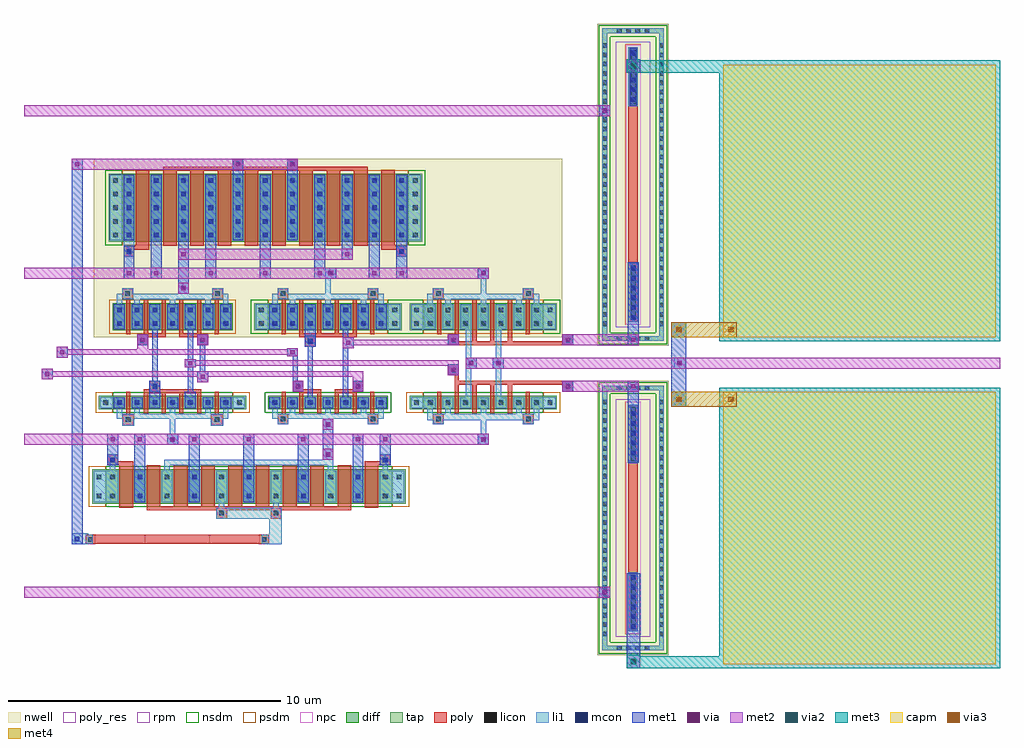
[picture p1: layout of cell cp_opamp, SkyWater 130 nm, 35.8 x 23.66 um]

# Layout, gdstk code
import gdstk
lib = gdstk.Library(unit=1e-6, precision=1e-09)
def R(c, l, rs):  # rectangles x0, y0, x1, y1
    for r in rs: c.add(gdstk.rectangle(r[:2], r[2:], *l))
def A(c, l, x, y, w, h, nx, ny, dx, dy):  # array of equal rectangles
    R(c, l, [(x+i*dx, y+j*dy, x+i*dx+w, y+j*dy+h) for i in range(nx) for j in range(ny)])
nwell = (64, 20)
diff = (65, 20)
tap = (65, 44)
poly_res = (66, 13)
poly = (66, 20)
licon = (66, 44)
li1 = (67, 20)
mcon = (67, 44)
met1 = (68, 20)
via = (68, 44)
met2 = (69, 20)
via2 = (69, 44)
met3 = (70, 20)
via3 = (70, 44)
met4 = (71, 20)
rpm = (86, 20)
capm = (89, 44)
nsdm = (93, 44)
psdm = (94, 20)
npc = (95, 20)

cp_opamp = lib.new_cell('cp_opamp')
R(cp_opamp, nwell, [(264.985,45.785,267.605,55.855), (264.985,57.135,267.605,68.955), (246.5,57.45,263.7,64)])
A(cp_opamp, diff, 247.2, 54.8, 4.4, 0.5, 3, 1, 5.7, 0)
A(cp_opamp, diff, 247.2, 57.7, 4.4, 1, 3, 1, 5.7, 0)
R(cp_opamp, diff, [(246.95,51.35,257.45,52.6), (247.55,60.95,258.05,63.45)])
R(cp_opamp, tap, [(265.165,45.965,267.425,46.135), (265.165,46.135,265.335,55.505), (267.255,46.135,267.425,55.505), (246.45,51.35,246.95,52.6), (257.45,51.35,257.95,52.6), (246.7,54.8,247.2,55.3), (251.6,54.8,252.1,55.3), (258.1,54.8,258.6,55.3), (263,54.8,263.5,55.3), (265.165,55.505,267.425,55.675), (265.165,57.315,267.425,57.485), (265.165,57.485,265.335,68.605), (267.255,57.485,267.425,68.605), (252.4,57.7,252.9,58.7), (257.3,57.7,257.8,58.7), (258.1,57.7,258.6,58.7), (263,57.7,263.5,58.7), (247.05,60.95,247.55,63.45), (258.05,60.95,258.55,63.45), (265.165,68.605,267.425,68.775)])
R(cp_opamp, poly_res, [(266.12,48.74,266.47,52.9), (248.37,49.87,250.77,50.2), (266.12,60.09,266.47,66)])
A(cp_opamp, poly, 248.45, 51.25, 0.5, 1.5, 8, 1, 1, 0)
A(cp_opamp, poly, 248.35, 54.65, 0.15, 0.75, 4, 1, 0.65, 0)
A(cp_opamp, poly, 254.05, 54.65, 0.15, 0.75, 4, 1, 0.65, 0)
A(cp_opamp, poly, 259.75, 54.65, 0.15, 1.05, 4, 1, 0.65, 0)
A(cp_opamp, poly, 260.4, 57.3, 0.15, 1.55, 3, 1, 0.65, 0)
A(cp_opamp, poly, 248.35, 57.6, 0.15, 1.25, 4, 1, 0.65, 0)
A(cp_opamp, poly, 254.05, 57.6, 0.15, 1.25, 4, 1, 0.65, 0)
A(cp_opamp, poly, 249.05, 60.8, 0.5, 2.75, 8, 1, 1, 0)
R(cp_opamp, poly, [(266.12,46.66,266.47,54.98), (246.22,49.87,252.92,50.2), (251,50.8,251.4,51.1), (253,50.8,253.4,51.1), (248.45,51.1,255.95,51.25), (247.45,51.2,247.95,52.75), (256.45,51.2,256.95,52.75), (247,52.75,247.95,52.9), (256.45,52.75,257.4,52.9), (247,52.9,247.4,53.15), (257,52.9,257.4,53.15), (247.55,54.2,248,54.65), (250.8,54.2,251.25,54.65), (253.25,54.25,253.65,54.65), (256.55,54.25,256.95,54.65), (258.95,54.25,259.35,54.65), (262.25,54.25,262.65,54.65), (247.7,54.65,247.85,55.45), (250.95,54.65,251.1,55.45), (253.4,54.65,253.55,55.45), (256.65,54.65,256.8,55.45), (259.1,54.65,259.25,55.45), (262.35,54.65,262.5,55.45), (248.35,55.4,250.45,55.55), (254.05,55.4,254.85,55.45), (255.35,55.4,256.15,55.45), (253.8,55.45,254.85,55.55), (255.35,55.45,256.4,55.55), (263.7,55.45,264.1,55.7), (248.55,55.55,248.95,55.85), (253.8,55.55,254.2,55.85), (256,55.55,256.4,55.85), (259.75,55.7,264.1,55.85), (259.75,55.85,259.9,56.05), (259.5,56.05,259.9,56.45), (254.25,57.1,254.65,57.45), (248.1,57.15,248.5,57.45), (250.3,57.15,250.7,57.45), (259.5,57.15,264.1,57.3), (259.5,57.3,259.9,57.55), (263.7,57.3,264.1,57.55), (248.1,57.45,249.15,57.55), (249.65,57.45,250.7,57.55), (254.05,57.45,256.15,57.6), (247.7,57.55,247.85,58.85), (248.35,57.55,249.15,57.6), (249.65,57.55,250.45,57.6), (250.95,57.55,251.1,58.85), (253.4,57.55,253.55,58.85), (256.65,57.55,256.8,58.85), (259.1,57.55,259.25,58.85), (259.75,57.55,259.9,58.85), (262.35,57.55,262.5,58.85), (266.12,58.01,266.47,68.08), (247.55,58.85,247.95,59.25), (250.85,58.85,251.25,59.25), (253.25,58.85,253.65,59.25), (256.55,58.85,256.95,59.25), (258.95,58.85,259.35,59.25), (262.25,58.85,262.65,59.25), (247.6,60.4,248,60.65), (257.6,60.4,258,60.65), (247.6,60.65,248.55,60.8), (257.05,60.65,258,60.8), (248.05,60.8,248.55,63.6), (257.05,60.8,257.55,63.6), (249.05,63.55,256.55,63.7), (251.6,63.7,252,64), (253.6,63.7,254,64)])
A(cp_opamp, licon, 265.7, 45.965, 0.17, 0.17, 4, 2, 0.34, 9.54)
A(cp_opamp, licon, 265.165, 46.485, 0.17, 0.17, 1, 26, 0, 0.34)
A(cp_opamp, licon, 267.255, 46.485, 0.17, 0.17, 1, 26, 0, 0.34)
A(cp_opamp, licon, 247.115, 51.54, 0.17, 0.17, 11, 2, 1, 0.7)
A(cp_opamp, licon, 247.365, 54.965, 0.17, 0.17, 7, 2, 0.65, 2.9)
A(cp_opamp, licon, 253.065, 54.965, 0.17, 0.17, 7, 2, 0.65, 2.9)
A(cp_opamp, licon, 258.765, 54.965, 0.17, 0.17, 7, 2, 0.65, 2.9)
A(cp_opamp, licon, 265.7, 57.315, 0.17, 0.17, 4, 2, 0.34, 11.29)
A(cp_opamp, licon, 265.165, 57.86, 0.17, 0.17, 1, 31, 0, 0.34)
A(cp_opamp, licon, 267.255, 57.86, 0.17, 0.17, 1, 31, 0, 0.34)
A(cp_opamp, licon, 247.365, 58.365, 0.17, 0.17, 7, 1, 0.65, 0)
A(cp_opamp, licon, 253.065, 58.365, 0.17, 0.17, 7, 1, 0.65, 0)
A(cp_opamp, licon, 258.765, 58.365, 0.17, 0.17, 7, 1, 0.65, 0)
A(cp_opamp, licon, 247.215, 61.115, 0.17, 0.17, 1, 5, 0, 0.5)
A(cp_opamp, licon, 247.715, 61.115, 0.17, 0.17, 11, 5, 1, 0.5)
A(cp_opamp, licon, 258.215, 61.115, 0.17, 0.17, 1, 5, 0, 0.5)
R(cp_opamp, licon, [(266.2,46.74,266.39,48.74), (246.3,49.95,246.47,50.12), (252.67,49.95,252.84,50.12), (251.115,50.915,251.285,51.085), (253.115,50.915,253.285,51.085), (246.615,51.54,246.785,51.71), (257.615,51.54,257.785,51.71), (246.615,52.24,246.785,52.41), (257.615,52.24,257.785,52.41), (247.115,52.865,247.285,53.035), (257.115,52.865,257.285,53.035), (266.2,52.9,266.39,54.9), (247.69,54.34,247.86,54.51), (250.94,54.34,251.11,54.51), (253.365,54.365,253.535,54.535), (256.665,54.365,256.835,54.535), (259.065,54.365,259.235,54.535), (262.365,54.365,262.535,54.535), (246.865,54.965,247.035,55.135), (251.765,54.965,251.935,55.135), (258.265,54.965,258.435,55.135), (263.165,54.965,263.335,55.135), (248.665,55.565,248.835,55.735), (253.915,55.565,254.085,55.735), (256.115,55.565,256.285,55.735), (263.815,55.565,263.985,55.735), (259.615,56.165,259.785,56.335), (254.365,57.215,254.535,57.385), (248.215,57.265,248.385,57.435), (250.415,57.265,250.585,57.435), (259.615,57.265,259.785,57.435), (263.815,57.265,263.985,57.435), (252.565,57.865,252.735,58.035), (257.465,57.865,257.635,58.035), (258.265,57.865,258.435,58.035), (263.165,57.865,263.335,58.035), (266.2,58.09,266.39,60.09), (252.565,58.365,252.735,58.535), (257.465,58.365,257.635,58.535), (258.265,58.365,258.435,58.535), (263.165,58.365,263.335,58.535), (247.665,58.965,247.835,59.135), (250.965,58.965,251.135,59.135), (253.365,58.965,253.535,59.135), (256.665,58.965,256.835,59.135), (259.065,58.965,259.235,59.135), (262.365,58.965,262.535,59.135), (247.715,60.515,247.885,60.685), (257.715,60.515,257.885,60.685), (251.715,63.715,251.885,63.885), (253.715,63.715,253.885,63.885), (266.2,66,266.39,68)])
A(cp_opamp, li1, 248, 51.4, 0.4, 1.15, 9, 1, 1, 0)
A(cp_opamp, li1, 248, 54.65, 0.2, 0.2, 3, 2, 1.3, 4)
A(cp_opamp, li1, 253.7, 54.65, 0.2, 0.2, 3, 2, 1.3, 4)
A(cp_opamp, li1, 259.4, 54.65, 0.2, 0.2, 3, 2, 1.3, 4)
A(cp_opamp, li1, 247.9, 54.85, 0.4, 0.4, 5, 1, 0.65, 0)
A(cp_opamp, li1, 252.95, 54.85, 0.4, 0.4, 7, 1, 0.65, 0)
A(cp_opamp, li1, 259.3, 54.85, 0.4, 0.4, 5, 1, 0.65, 0)
A(cp_opamp, li1, 247.25, 57.75, 0.4, 0.9, 5, 1, 0.65, 0)
A(cp_opamp, li1, 253.6, 57.75, 0.4, 0.9, 5, 1, 0.65, 0)
A(cp_opamp, li1, 259.3, 57.75, 0.4, 0.9, 5, 1, 0.65, 0)
A(cp_opamp, li1, 247.35, 58.85, 4.1, 0.2, 3, 1, 5.7, 0)
A(cp_opamp, li1, 248.6, 61, 0.4, 2.4, 9, 1, 1, 0)
R(cp_opamp, li1, [(265.165,45.965,267.425,46.135), (265.165,46.135,265.335,47.9), (267.255,46.135,267.425,55.505), (266.12,46.66,266.47,48.82), (265.05,47.9,265.45,48.3), (265.165,48.3,265.335,55.505), (245.7,49.85,246.3,49.87), (252.8,49.85,253.4,49.87), (245.7,49.87,246.47,50.2), (252.67,49.87,253.4,50.2), (245.7,50.2,246.3,50.25), (252.95,50.2,253.4,50.8), (251,50.8,253.4,51.2), (251.1,51.2,251.3,51.4), (253.1,51.2,253.3,51.4), (246.5,51.4,247.4,52.55), (257,51.4,257.9,52.55), (247.1,52.55,247.3,52.75), (249.1,52.55,249.3,52.75), (255.1,52.55,255.3,52.75), (257.1,52.55,257.3,52.75), (247,52.75,247.4,53.15), (249.1,52.75,255.3,52.95), (257,52.75,257.4,53.15), (266.12,52.82,266.47,54.98), (254.9,52.95,255.3,53.35), (249.2,53.5,249.6,53.9), (260.6,53.5,261,53.9), (249.3,53.9,249.5,54.45), (260.7,53.9,260.9,54.4), (254.9,54.05,255.3,54.45), (247.55,54.2,248,54.45), (250.8,54.2,251.25,54.45), (253.25,54.25,253.65,54.45), (256.55,54.25,256.95,54.45), (258.95,54.25,259.35,54.4), (262.25,54.25,262.65,54.4), (258.75,54.4,262.85,54.65), (247.35,54.45,251.45,54.65), (253.05,54.45,257.15,54.65), (247.35,54.65,247.55,54.85), (251.25,54.65,251.45,54.85), (253.05,54.65,253.25,54.85), (256.95,54.65,257.15,54.85), (258.75,54.65,258.95,54.85), (262.65,54.65,262.85,54.85), (246.75,54.85,247.65,55.25), (251.15,54.85,252.05,55.25), (258.15,54.85,259.05,55.25), (262.55,54.85,263.45,55.25), (260.15,55.25,260.35,56.3), (261.25,55.25,261.45,56.3), (248.55,55.45,248.95,55.85), (253.8,55.45,254.2,55.85), (256,55.45,256.4,55.85), (263.7,55.45,264.1,55.85), (265.165,55.505,267.425,55.675), (259.5,56.05,259.9,56.45), (260.15,56.3,260.55,56.7), (261.15,56.3,261.55,56.7), (267.8,56.3,268.2,56.7), (260.15,56.7,260.35,57.75), (261.25,56.7,261.45,57.75), (254.25,57.1,254.65,57.5), (248.1,57.15,248.5,57.55), (250.3,57.15,250.7,57.55), (259.5,57.15,259.9,57.55), (263.7,57.15,264.1,57.55), (265.165,57.315,267.425,57.485), (265.165,57.485,265.335,65.55), (267.255,57.485,267.425,68.605), (250.5,57.75,250.95,58.65), (251.15,57.75,251.55,58.65), (252.45,57.75,253.35,58.65), (256.85,57.75,257.75,58.65), (258.15,57.75,259.05,58.65), (262.55,57.75,263.45,58.65), (266.12,58.01,266.47,60.17), (247.35,58.65,247.55,58.85), (251.25,58.65,251.45,58.85), (253.05,58.65,253.25,58.85), (256.95,58.65,257.15,58.85), (258.75,58.65,258.95,58.85), (262.65,58.65,262.85,58.85), (247.55,59.05,247.95,59.25), (249.6,59.05,250,59.45), (250.85,59.05,251.25,59.25), (253.25,59.05,253.65,59.25), (255,59.05,255.2,59.6), (256.55,59.05,256.95,59.25), (258.95,59.05,259.35,59.25), (260.7,59.05,260.9,59.6), (262.25,59.05,262.65,59.25), (255,59.6,255.4,60), (260.6,59.6,261,60), (247.6,60.4,248,61), (257.6,60.4,258,60.8), (247.1,61,248,63.4), (257.6,61,258.5,63.4), (251.6,63.6,252,64), (253.6,63.6,254,64), (265.05,65.55,265.45,65.95), (266.12,65.92,266.47,68.08), (265.165,65.95,265.335,68.605), (265.165,68.605,267.425,68.775)])
A(cp_opamp, mcon, 266.21, 46.755, 0.17, 0.17, 1, 6, 0, 0.36)
A(cp_opamp, mcon, 248.115, 51.54, 0.17, 0.17, 5, 2, 2, 0.7)
A(cp_opamp, mcon, 266.215, 53.12, 0.17, 0.17, 1, 5, 0, 0.36)
A(cp_opamp, mcon, 247.365, 54.965, 0.17, 0.17, 7, 2, 0.65, 2.9)
A(cp_opamp, mcon, 253.065, 54.965, 0.17, 0.17, 7, 2, 0.65, 2.9)
A(cp_opamp, mcon, 266.215, 58.09, 0.17, 0.17, 1, 6, 0, 0.36)
A(cp_opamp, mcon, 247.365, 58.365, 0.17, 0.17, 7, 1, 0.65, 0)
A(cp_opamp, mcon, 253.065, 58.365, 0.17, 0.17, 7, 1, 0.65, 0)
A(cp_opamp, mcon, 247.715, 61.115, 0.17, 0.17, 11, 5, 1, 0.5)
A(cp_opamp, mcon, 266.21, 66.085, 0.17, 0.17, 1, 3, 0, 0.36)
R(cp_opamp, mcon, [(265.165,48.015,265.335,48.185), (245.815,49.965,245.985,50.135), (247.115,52.865,247.285,53.035), (257.115,52.865,257.285,53.035), (255.015,53.065,255.185,53.235), (249.315,53.615,249.485,53.785), (260.715,53.615,260.885,53.785), (255.015,54.165,255.185,54.335), (248.665,55.565,248.835,55.735), (253.915,55.565,254.085,55.735), (256.115,55.565,256.285,55.735), (263.815,55.565,263.985,55.735), (259.615,56.165,259.785,56.335), (260.265,56.415,260.435,56.585), (261.265,56.415,261.435,56.585), (267.915,56.415,268.085,56.585), (254.365,57.215,254.535,57.385), (248.215,57.265,248.385,57.435), (250.415,57.265,250.585,57.435), (259.615,57.265,259.785,57.435), (263.815,57.265,263.985,57.435), (249.715,59.165,249.885,59.335), (255.115,59.715,255.285,59.885), (260.715,59.715,260.885,59.885), (247.715,60.515,247.885,60.685), (257.715,60.515,257.885,60.685), (251.715,63.715,251.885,63.885), (253.715,63.715,253.885,63.885), (265.165,65.665,265.335,65.835), (266.21,67.315,266.38,67.485), (266.21,67.78,266.38,67.95)])
A(cp_opamp, met1, 248, 51.4, 0.4, 2.5, 5, 1, 2, 0)
A(cp_opamp, met1, 247.9, 54.85, 0.4, 0.4, 3, 1, 1.3, 0)
A(cp_opamp, met1, 252.95, 54.85, 0.4, 0.4, 7, 1, 0.65, 0)
A(cp_opamp, met1, 247.25, 57.75, 0.4, 0.9, 7, 1, 0.65, 0)
A(cp_opamp, met1, 254.9, 57.75, 0.4, 0.9, 4, 1, 0.65, 0)
A(cp_opamp, met1, 248.6, 59.6, 0.4, 3.8, 3, 1, 2, 0)
R(cp_opamp, met1, [(266.05,45.3,266.55,48.8), (265.05,47.9,265.45,48.3), (245.7,49.85,246.1,64), (247,52.75,247.4,53.9), (257,52.75,257.4,53.9), (266.17,52.845,266.42,52.85), (266.1,52.85,266.5,55.85), (254.9,52.95,255.3,54.45), (249.2,53.5,249.6,53.9), (260.6,53.5,261,53.9), (247.25,54.85,247.65,55.25), (248.55,54.85,248.95,55.85), (249.85,54.85,250.25,55.45), (251.15,54.85,251.55,55.25), (267.7,54.9,268.25,58), (254.35,55.25,254.55,57.1), (255.65,55.25,255.85,57.05), (249.95,55.45,250.15,56.35), (253.8,55.45,254.2,55.85), (256,55.45,256.4,55.85), (263.7,55.45,264.1,55.85), (250.3,55.8,250.7,56.2), (248.65,55.85,248.85,57.75), (253.8,55.85,254,56.75), (244.6,55.9,245,56.3), (259.5,56.05,259.9,56.45), (250.4,56.2,250.6,57.15), (260.15,56.3,260.55,56.7), (261.15,56.3,261.55,56.7), (249.85,56.35,250.25,56.65), (249.95,56.65,250.15,57.75), (245.15,56.7,245.55,57.1), (253.6,56.75,254,57.05), (255.65,57.05,256.05,57.45), (254.25,57.1,254.65,58.65), (248.1,57.15,248.5,57.55), (250.3,57.15,250.7,57.55), (259.5,57.15,259.9,57.55), (263.7,57.15,264.1,57.55), (266.1,57.15,266.5,60.2), (255.65,57.45,255.85,57.75), (252.95,57.75,253.35,58.65), (253.6,57.75,254,58.65), (249.6,59.05,250,63.4), (247.6,59.6,248,60.8), (254.6,59.6,255.4,60), (256.6,59.6,257,63.4), (257.6,59.6,258,63.4), (260.6,59.6,261,60), (254.6,60,255,63.4), (255.6,60.3,256,63.4), (247.6,61,248,63.4), (251.6,61,252,64), (253.6,61,254,64), (265.05,65.55,265.45,65.95), (266.17,65.945,266.42,67.15), (266.05,67.15,266.55,67.65), (266.17,67.65,266.42,68.05)])
A(cp_opamp, via, 250.125, 53.625, 0.15, 0.15, 4, 1, 2, 0)
A(cp_opamp, via, 248.725, 59.725, 0.15, 0.15, 4, 1, 2, 0)
R(cp_opamp, via, [(266.225,45.475,266.375,45.625), (265.175,48.025,265.325,48.175), (255.025,53.075,255.175,53.225), (247.125,53.625,247.275,53.775), (248.125,53.625,248.275,53.775), (249.325,53.625,249.475,53.775), (257.125,53.625,257.275,53.775), (260.725,53.625,260.875,53.775), (255.025,54.175,255.175,54.325), (267.9,55.1,268.05,55.25), (253.925,55.575,254.075,55.725), (256.125,55.575,256.275,55.725), (263.825,55.575,263.975,55.725), (266.225,55.575,266.375,55.725), (250.425,55.925,250.575,56.075), (244.725,56.025,244.875,56.175), (259.625,56.175,259.775,56.325), (249.975,56.425,250.125,56.575), (260.275,56.425,260.425,56.575), (261.275,56.425,261.425,56.575), (267.925,56.425,268.075,56.575), (245.275,56.825,245.425,56.975), (253.725,56.825,253.875,56.975), (255.775,57.175,255.925,57.325), (248.225,57.275,248.375,57.425), (250.425,57.275,250.575,57.425), (259.625,57.275,259.775,57.425), (263.825,57.275,263.975,57.425), (266.225,57.275,266.375,57.425), (267.9,57.65,268.05,57.8), (249.725,59.175,249.875,59.325), (247.725,59.725,247.875,59.875), (255.125,59.725,255.275,59.875), (256.725,59.725,256.875,59.875), (257.725,59.725,257.875,59.875), (260.725,59.725,260.875,59.875), (249.725,60.425,249.875,60.575), (255.725,60.425,255.875,60.575), (245.825,63.725,245.975,63.875), (251.725,63.725,251.875,63.875), (253.725,63.725,253.875,63.875), (265.175,65.675,265.325,65.825), (266.225,67.325,266.375,67.475)])
R(cp_opamp, met2, [(266.05,45.3,266.55,45.8), (243.95,47.9,265.45,48.3), (254.9,52.95,255.3,53.35), (243.95,53.5,261,53.9), (254.9,54.05,255.3,54.45), (267.7,54.9,268.25,55.45), (253.8,55.45,254.2,55.85), (256,55.45,256.4,56), (263.7,55.45,266.5,55.85), (250.3,55.8,250.7,56), (244.6,55.9,245,56), (244.6,56,256.4,56.2), (259.5,56.05,259.9,56.4), (244.6,56.2,245,56.3), (260.15,56.3,279.75,56.7), (249.85,56.35,250.25,56.4), (249.85,56.4,259.9,56.6), (249.85,56.6,250.25,56.65), (245.15,56.7,245.55,56.8), (253.6,56.75,254,56.8), (245.15,56.8,254,57), (245.15,57,245.55,57.1), (248.1,57,248.5,57.55), (253.6,57,254,57.05), (255.65,57.05,256.05,57.15), (250.3,57.15,250.7,57.55), (255.65,57.15,259.9,57.35), (263.7,57.15,266.5,57.55), (255.65,57.35,256.05,57.45), (259.5,57.35,259.9,57.55), (267.7,57.45,268.25,58), (249.6,59.05,250,59.45), (243.95,59.6,261,60), (249.6,60.3,256,60.7), (245.7,63.6,254,64), (243.95,65.55,265.45,65.95), (266.05,67.15,266.55,67.65)])
R(cp_opamp, via2, [(266.2,45.45,266.4,45.65), (267.875,55.075,268.075,55.275), (267.875,57.625,268.075,57.825), (266.2,67.3,266.4,67.5)])
R(cp_opamp, met3, [(266.05,45.3,279.75,45.75), (266.05,45.75,266.55,45.8), (269.45,45.75,279.75,55.6), (267.7,54.9,268.25,55.45), (269.45,57.3,279.75,67.15), (267.7,57.45,268.25,58), (266.05,67.15,279.75,67.6), (266.05,67.6,266.55,67.65)])
R(cp_opamp, via3, [(267.875,55.075,268.075,55.275), (269.775,55.075,269.975,55.275), (267.875,57.625,268.075,57.825), (269.775,57.625,269.975,57.825)])
R(cp_opamp, met4, [(267.7,54.9,270.1,55.45), (267.7,57.45,270.1,58)])
R(cp_opamp, rpm, [(265.66,46.46,266.93,55.18), (265.66,57.81,266.93,68.28)])
R(cp_opamp, capm, [(269.6,45.45,279.6,55.45), (269.6,57.45,279.6,67.45)])
R(cp_opamp, nsdm, [(265.04,45.84,267.55,46.26), (265.04,46.26,265.46,55.38), (267.13,46.26,267.55,55.38), (246.95,51.225,257.45,52.725), (247.2,54.675,251.6,55.425), (252.775,54.675,257.425,55.425), (258.6,54.675,263,55.425), (265.04,55.38,267.55,55.8), (265.04,57.19,267.55,57.61), (252.275,57.575,252.9,58.825), (257.3,57.575,258.6,58.825), (263,57.575,263.625,58.825), (265.04,57.61,265.46,68.48), (267.13,57.61,267.55,68.48), (246.925,60.825,247.55,63.575), (258.05,60.825,258.675,63.575), (265.04,68.48,267.55,68.9)])
R(cp_opamp, psdm, [(266.01,46.55,266.58,55.09), (246.325,51.225,246.95,52.725), (257.45,51.225,258.075,52.725), (246.575,54.675,247.2,55.425), (251.6,54.675,252.225,55.425), (257.975,54.675,258.6,55.425), (263,54.675,263.625,55.425), (247.075,57.575,251.725,58.825), (252.9,57.575,257.3,58.825), (258.6,57.575,263,58.825), (266.01,57.9,266.58,68.19), (247.55,60.825,258.05,63.575)])
R(cp_opamp, npc, [(266.025,46.565,266.565,55.075), (246.2,49.85,246.57,50.22), (252.57,49.85,252.94,50.22), (251.015,50.815,251.385,51.185), (253.015,50.815,253.385,51.185), (247.015,52.765,247.385,53.135), (257.015,52.765,257.385,53.135), (247.59,54.24,247.96,54.61), (250.84,54.24,251.21,54.61), (253.265,54.265,253.635,54.635), (256.565,54.265,256.935,54.635), (258.965,54.265,259.335,54.635), (262.265,54.265,262.635,54.635), (248.565,55.465,248.935,55.835), (253.815,55.465,254.185,55.835), (256.015,55.465,256.385,55.835), (263.715,55.465,264.085,55.835), (259.515,56.065,259.885,56.435), (254.265,57.115,254.635,57.485), (248.115,57.165,248.485,57.535), (250.315,57.165,250.685,57.535), (259.515,57.165,259.885,57.535), (263.715,57.165,264.085,57.535), (266.025,57.915,266.565,68.175), (247.565,58.865,247.935,59.235), (250.865,58.865,251.235,59.235), (253.265,58.865,253.635,59.235), (256.565,58.865,256.935,59.235), (258.965,58.865,259.335,59.235), (262.265,58.865,262.635,59.235), (247.615,60.415,247.985,60.785), (257.615,60.415,257.985,60.785), (251.615,63.615,251.985,63.985), (253.615,63.615,253.985,63.985)])

lib.write_gds('cp_opamp.gds')
